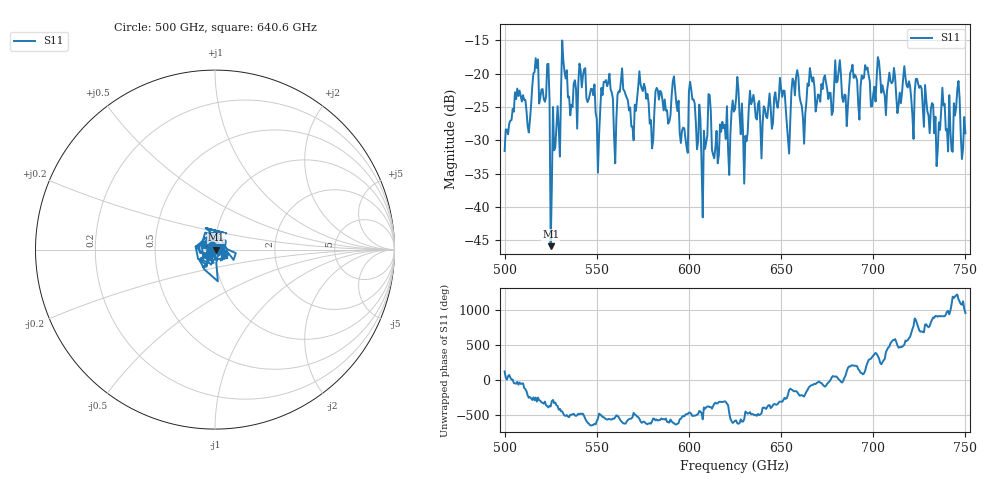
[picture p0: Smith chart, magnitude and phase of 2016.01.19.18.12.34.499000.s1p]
!Created with skrf (http://scikit-rf.org).
# GHz S RI R 50.0
!freq ReS11 ImS11
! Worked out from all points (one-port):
!   401 points, 500 GHz to 750 GHz, reference 50 ohm
!   lowest |S11| = -45.9 dB at 525 GHz (marker M1), VSWR 1.01, Z = 50.5 - j0.128 ohm
!   |S11| at or under -10 dB: start of sweep to end of sweep
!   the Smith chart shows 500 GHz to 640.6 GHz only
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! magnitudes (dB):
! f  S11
! 500 GHz  -31.6
! 506.9 GHz  -22.2
! 513.1 GHz  -28.8
! 516.9 GHz  -17.7
! 523.1 GHz  -18.6
! 525 GHz  -45.9
! 526.2 GHz  -25.0
! 531.2 GHz  -15.0
! 542.5 GHz  -20.3
! 550.6 GHz  -34.9
! 553.8 GHz  -21.2
! 560 GHz  -33.5
! 562.5 GHz  -22.7
! 593.8 GHz  -25.6
! 598.1 GHz  -29.8
! 601.2 GHz  -22.4
! 608.1 GHz  -28.6
! 610.6 GHz  -23.1
! 615 GHz  -28.6
! 625 GHz  -25.3
! 630.6 GHz  -29.3
! 633.8 GHz  -24.6
! 650.6 GHz  -23.5
! 653.8 GHz  -29.8
! 656.2 GHz  -20.7
! 687.5 GHz  -19.9
! 718.8 GHz  -22.1
! 750 GHz  -29.0
